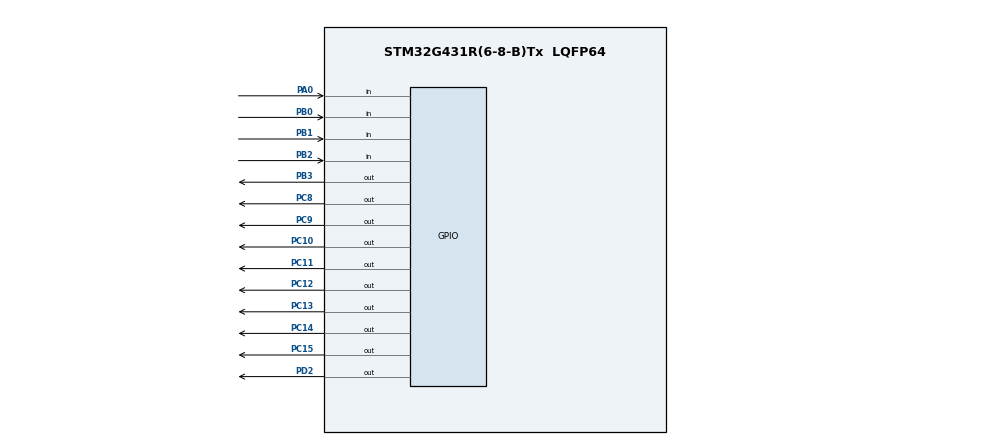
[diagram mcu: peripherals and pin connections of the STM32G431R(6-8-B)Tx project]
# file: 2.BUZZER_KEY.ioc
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Mcu.Family=STM32G4
Mcu.Name=STM32G431R(6-8-B)Tx
Mcu.Package=LQFP64
NVIC.PriorityGroup=NVIC_PRIORITYGROUP_4
PA0.GPIO_PuPd=GPIO_PULLUP
PA0.Signal=GPIO_Input
PA13.Mode=Serial_Wire
PA13.Signal=SYS_JTMS-SWDIO
PA14.Mode=Serial_Wire
PA14.Signal=SYS_JTCK-SWCLK
PB0.GPIO_PuPd=GPIO_PULLUP
PB0.Signal=GPIO_Input
PB1.GPIO_PuPd=GPIO_PULLUP
PB1.Signal=GPIO_Input
PB2.GPIO_PuPd=GPIO_PULLUP
PB2.Signal=GPIO_Input
PB3.PinState=GPIO_PIN_SET
PB3.Signal=GPIO_Output
PC10.PinState=GPIO_PIN_SET
PC10.Signal=GPIO_Output
PC11.PinState=GPIO_PIN_SET
PC11.Signal=GPIO_Output
PC12.Signal=GPIO_Output
PC13.Signal=GPIO_Output
PC14-OSC32_IN.Signal=GPIO_Output
PC15-OSC32_OUT.Signal=GPIO_Output
PC8.PinState=GPIO_PIN_SET
PC8.Signal=GPIO_Output
PC9.PinState=GPIO_PIN_SET
PC9.Signal=GPIO_Output
PD2.PinState=GPIO_PIN_SET
PD2.Signal=GPIO_Output
PF0-OSC_IN.Mode=HSE-External-Oscillator
PF0-OSC_IN.Signal=RCC_OSC_IN
PF1-OSC_OUT.Mode=HSE-External-Oscillator
PF1-OSC_OUT.Signal=RCC_OSC_OUT
ProjectManager.HeapSize=0x200
ProjectManager.StackSize=0x400
ProjectManager.TargetToolchain=MDK-ARM V5.27
RCC.ADC12Freq_Value=160000000
RCC.AHBFreq_Value=160000000
RCC.APB1Freq_Value=160000000
RCC.APB1TimFreq_Value=160000000
RCC.APB2Freq_Value=160000000
RCC.APB2TimFreq_Value=160000000
RCC.CortexFreq_Value=160000000
RCC.EXTERNAL_CLOCK_VALUE=12288000
RCC.HCLKFreq_Value=160000000
RCC.HSE_VALUE=24000000
RCC.HSI48_VALUE=48000000
RCC.HSI_VALUE=16000000
RCC.LSE_VALUE=32768
RCC.PLLM=RCC_PLLM_DIV3
RCC.PLLN=40
RCC.PLLSourceVirtual=RCC_PLLSOURCE_HSE
RCC.SYSCLKFreq_VALUE=160000000
RCC.SYSCLKSource=RCC_SYSCLKSOURCE_PLLCLK
RCC.USBFreq_Value=160000000
RCC.VCOOutputFreq_Value=320000000
VP_SYS_VS_DBSignals.Mode=DisableDeadBatterySignals
board=custom

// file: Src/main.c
/* USER CODE BEGIN Header */
/**
  ******************************************************************************
  * @file           : main.c
  * @brief          : Main program body
  ******************************************************************************
  * @attention
  *
  * <h2><center>&copy; Copyright (c) 2022 STMicroelectronics.
  * All rights reserved.</center></h2>
  *
  * This software component is licensed by ST under BSD 3-Clause license,
  * the "License"; You may not use this file except in compliance with the
  * License. You may obtain a copy of the License at:
  *                        opensource.org/licenses/BSD-3-Clause
  *
  ******************************************************************************
  */
/* USER CODE END Header */

#include "main.h"

/* USER CODE BEGIN PTD */

enum Key_All_State{
	Key_Check,
	Key_Press,
	Key_Release
};

enum Key_All_State Key_State = Key_Check;

/* USER CODE END PTD */

/* USER CODE BEGIN PD */
//KeyDef
#define B4 LL_GPIO_IsInputPinSet(GPIOA,LL_GPIO_PIN_0)
#define B3 LL_GPIO_IsInputPinSet(GPIOB,LL_GPIO_PIN_2)
#define B2 LL_GPIO_IsInputPinSet(GPIOB,LL_GPIO_PIN_1)
#define B1 LL_GPIO_IsInputPinSet(GPIOB,LL_GPIO_PIN_0)

//LedDef
#define L1_On LL_GPIO_ResetOutputPin(GPIOC,LL_GPIO_PIN_8)
#define L2_On LL_GPIO_ResetOutputPin(GPIOC,LL_GPIO_PIN_9)
#define L3_On LL_GPIO_ResetOutputPin(GPIOC,LL_GPIO_PIN_10)
#define L4_On LL_GPIO_ResetOutputPin(GPIOC,LL_GPIO_PIN_11)
#define L1_Off LL_GPIO_SetOutputPin(GPIOC,LL_GPIO_PIN_8)
#define L2_Off LL_GPIO_SetOutputPin(GPIOC,LL_GPIO_PIN_9)
#define L3_Off LL_GPIO_SetOutputPin(GPIOC,LL_GPIO_PIN_10)
#define L4_Off LL_GPIO_SetOutputPin(GPIOC,LL_GPIO_PIN_11)

//BuzzerDef
#define BuzzerOn LL_GPIO_ResetOutputPin(GPIOB,LL_GPIO_PIN_3)
#define BuzzerOff LL_GPIO_SetOutputPin(GPIOB,LL_GPIO_PIN_3)
/* USER CODE END PD */

/* USER CODE BEGIN PV */

uint32_t Key_Down_Time=20;
uint8_t Key_Value=0;
uint8_t Key_Flag=0;

/* USER CODE END PV */

void SystemClock_Config(void);
static void MX_GPIO_Init(void);
/* USER CODE BEGIN PFP */

void KeyScan(void);

/* USER CODE END PFP */

int main(void)
{

  /* MCU Configuration--------------------------------------------------------*/

  /* Reset of all peripherals, Initializes the Flash interface and the Systick. */

  LL_APB2_GRP1_EnableClock(LL_APB2_GRP1_PERIPH_SYSCFG);
  LL_APB1_GRP1_EnableClock(LL_APB1_GRP1_PERIPH_PWR);

  NVIC_SetPriorityGrouping(NVIC_PRIORITYGROUP_4);

  /* System interrupt init*/

  /** Disable the internal Pull-Up in Dead Battery pins of UCPD peripheral
  */
  LL_PWR_DisableDeadBatteryPD();

  /* Configure the system clock */
  SystemClock_Config();

  /* Initialize all configured peripherals */
  MX_GPIO_Init();
  /* USER CODE BEGIN 2 */
	LL_SYSTICK_EnableIT();

  /* USER CODE END 2 */

  /* Infinite loop */
  /* USER CODE BEGIN WHILE */
  while (1)
  {
	  if(Key_Flag)
	  {
		if(Key_Value == 1 && Key_Down_Time <= 1000) L1_On;
		if(Key_Value == 1 && Key_Down_Time > 1000) BuzzerOn;

		if(Key_Value == 2) BuzzerOff;
		if(Key_Value == 3) L1_Off;
		if(Key_Value == 4) L3_On;
		Key_Flag=0;
		Key_Down_Time=20;
	  }
    /* USER CODE END WHILE */

  }
}

void SystemClock_Config(void)
{
  LL_FLASH_SetLatency(LL_FLASH_LATENCY_7);

   if(LL_FLASH_GetLatency() != LL_FLASH_LATENCY_7)
  {
    Error_Handler();
  }
  LL_PWR_EnableRange1BoostMode();
  LL_RCC_HSE_Enable();

   /* Wait till HSE is ready */
  while(LL_RCC_HSE_IsReady() != 1)
  {

  }
  LL_RCC_PLL_ConfigDomain_SYS(LL_RCC_PLLSOURCE_HSE, LL_RCC_PLLM_DIV_3, 40, LL_RCC_PLLR_DIV_2);
  LL_RCC_PLL_EnableDomain_SYS();
  LL_RCC_PLL_Enable();

   /* Wait till PLL is ready */
  while(LL_RCC_PLL_IsReady() != 1)
  {

  }
  LL_RCC_SetSysClkSource(LL_RCC_SYS_CLKSOURCE_PLL);
  LL_RCC_SetAHBPrescaler(LL_RCC_SYSCLK_DIV_2);

   /* Wait till System clock is ready */
  while(LL_RCC_GetSysClkSource() != LL_RCC_SYS_CLKSOURCE_STATUS_PLL)
  {

  }
  /* Insure 1?s transition state at intermediate medium speed clock based on DWT */
  CoreDebug->DEMCR |= CoreDebug_DEMCR_TRCENA_Msk;
  DWT->CTRL |= DWT_CTRL_CYCCNTENA_Msk;
  DWT->CYCCNT = 0;
  while(DWT->CYCCNT < 100);
  /* Set AHB prescaler*/
  LL_RCC_SetAHBPrescaler(LL_RCC_SYSCLK_DIV_1);
  LL_RCC_SetAPB1Prescaler(LL_RCC_APB1_DIV_1);
  LL_RCC_SetAPB2Prescaler(LL_RCC_APB1_DIV_1);

  LL_Init1msTick(160000000);

  LL_SetSystemCoreClock(160000000);
}

static void MX_GPIO_Init(void)
{
  LL_GPIO_InitTypeDef GPIO_InitStruct = {0};

  /* GPIO Ports Clock Enable */
  LL_AHB2_GRP1_EnableClock(LL_AHB2_GRP1_PERIPH_GPIOC);
  LL_AHB2_GRP1_EnableClock(LL_AHB2_GRP1_PERIPH_GPIOF);
  LL_AHB2_GRP1_EnableClock(LL_AHB2_GRP1_PERIPH_GPIOA);
  LL_AHB2_GRP1_EnableClock(LL_AHB2_GRP1_PERIPH_GPIOB);
  LL_AHB2_GRP1_EnableClock(LL_AHB2_GRP1_PERIPH_GPIOD);

  /**/
  LL_GPIO_ResetOutputPin(GPIOC, LL_GPIO_PIN_13);

  /**/
  LL_GPIO_ResetOutputPin(GPIOC, LL_GPIO_PIN_14);

  /**/
  LL_GPIO_ResetOutputPin(GPIOC, LL_GPIO_PIN_15);

  /**/
  LL_GPIO_ResetOutputPin(GPIOC, LL_GPIO_PIN_12);

  /**/
  LL_GPIO_SetOutputPin(GPIOC, LL_GPIO_PIN_8);

  /**/
  LL_GPIO_SetOutputPin(GPIOC, LL_GPIO_PIN_9);

  /**/
  LL_GPIO_SetOutputPin(GPIOC, LL_GPIO_PIN_10);

  /**/
  LL_GPIO_SetOutputPin(GPIOC, LL_GPIO_PIN_11);

  /**/
  LL_GPIO_SetOutputPin(GPIOD, LL_GPIO_PIN_2);

  /**/
  LL_GPIO_SetOutputPin(GPIOB, LL_GPIO_PIN_3);

  /**/
  GPIO_InitStruct.Pin = LL_GPIO_PIN_13;
  GPIO_InitStruct.Mode = LL_GPIO_MODE_OUTPUT;
  GPIO_InitStruct.Speed = LL_GPIO_SPEED_FREQ_LOW;
  GPIO_InitStruct.OutputType = LL_GPIO_OUTPUT_PUSHPULL;
  GPIO_InitStruct.Pull = LL_GPIO_PULL_NO;
  LL_GPIO_Init(GPIOC, &GPIO_InitStruct);

  /**/
  GPIO_InitStruct.Pin = LL_GPIO_PIN_14;
  GPIO_InitStruct.Mode = LL_GPIO_MODE_OUTPUT;
  GPIO_InitStruct.Speed = LL_GPIO_SPEED_FREQ_LOW;
  GPIO_InitStruct.OutputType = LL_GPIO_OUTPUT_PUSHPULL;
  GPIO_InitStruct.Pull = LL_GPIO_PULL_NO;
  LL_GPIO_Init(GPIOC, &GPIO_InitStruct);

  /**/
  GPIO_InitStruct.Pin = LL_GPIO_PIN_15;
  GPIO_InitStruct.Mode = LL_GPIO_MODE_OUTPUT;
  GPIO_InitStruct.Speed = LL_GPIO_SPEED_FREQ_LOW;
  GPIO_InitStruct.OutputType = LL_GPIO_OUTPUT_PUSHPULL;
  GPIO_InitStruct.Pull = LL_GPIO_PULL_NO;
  LL_GPIO_Init(GPIOC, &GPIO_InitStruct);

  /**/
  GPIO_InitStruct.Pin = LL_GPIO_PIN_0;
  GPIO_InitStruct.Mode = LL_GPIO_MODE_INPUT;
  GPIO_InitStruct.Pull = LL_GPIO_PULL_UP;
  LL_GPIO_Init(GPIOA, &GPIO_InitStruct);

  /**/
  GPIO_InitStruct.Pin = LL_GPIO_PIN_0;
  GPIO_InitStruct.Mode = LL_GPIO_MODE_INPUT;
  GPIO_InitStruct.Pull = LL_GPIO_PULL_UP;
  LL_GPIO_Init(GPIOB, &GPIO_InitStruct);

  /**/
  GPIO_InitStruct.Pin = LL_GPIO_PIN_1;
  GPIO_InitStruct.Mode = LL_GPIO_MODE_INPUT;
  GPIO_InitStruct.Pull = LL_GPIO_PULL_UP;
  LL_GPIO_Init(GPIOB, &GPIO_InitStruct);

  /**/
  GPIO_InitStruct.Pin = LL_GPIO_PIN_2;
  GPIO_InitStruct.Mode = LL_GPIO_MODE_INPUT;
  GPIO_InitStruct.Pull = LL_GPIO_PULL_UP;
  LL_GPIO_Init(GPIOB, &GPIO_InitStruct);

  /**/
  GPIO_InitStruct.Pin = LL_GPIO_PIN_8;
  GPIO_InitStruct.Mode = LL_GPIO_MODE_OUTPUT;
  GPIO_InitStruct.Speed = LL_GPIO_SPEED_FREQ_LOW;
  GPIO_InitStruct.OutputType = LL_GPIO_OUTPUT_PUSHPULL;
  GPIO_InitStruct.Pull = LL_GPIO_PULL_NO;
  LL_GPIO_Init(GPIOC, &GPIO_InitStruct);

  /**/
  GPIO_InitStruct.Pin = LL_GPIO_PIN_9;
  GPIO_InitStruct.Mode = LL_GPIO_MODE_OUTPUT;
  GPIO_InitStruct.Speed = LL_GPIO_SPEED_FREQ_LOW;
  GPIO_InitStruct.OutputType = LL_GPIO_OUTPUT_PUSHPULL;
  GPIO_InitStruct.Pull = LL_GPIO_PULL_NO;
  LL_GPIO_Init(GPIOC, &GPIO_InitStruct);

  /**/
  GPIO_InitStruct.Pin = LL_GPIO_PIN_10;
  GPIO_InitStruct.Mode = LL_GPIO_MODE_OUTPUT;
  GPIO_InitStruct.Speed = LL_GPIO_SPEED_FREQ_LOW;
  GPIO_InitStruct.OutputType = LL_GPIO_OUTPUT_PUSHPULL;
  GPIO_InitStruct.Pull = LL_GPIO_PULL_NO;
  LL_GPIO_Init(GPIOC, &GPIO_InitStruct);

  /**/
  GPIO_InitStruct.Pin = LL_GPIO_PIN_11;
  GPIO_InitStruct.Mode = LL_GPIO_MODE_OUTPUT;
  GPIO_InitStruct.Speed = LL_GPIO_SPEED_FREQ_LOW;
  GPIO_InitStruct.OutputType = LL_GPIO_OUTPUT_PUSHPULL;
  GPIO_InitStruct.Pull = LL_GPIO_PULL_NO;
  LL_GPIO_Init(GPIOC, &GPIO_InitStruct);

  /**/
  GPIO_InitStruct.Pin = LL_GPIO_PIN_12;
  GPIO_InitStruct.Mode = LL_GPIO_MODE_OUTPUT;
  GPIO_InitStruct.Speed = LL_GPIO_SPEED_FREQ_LOW;
  GPIO_InitStruct.OutputType = LL_GPIO_OUTPUT_PUSHPULL;
  GPIO_InitStruct.Pull = LL_GPIO_PULL_NO;
  LL_GPIO_Init(GPIOC, &GPIO_InitStruct);

  /**/
  GPIO_InitStruct.Pin = LL_GPIO_PIN_2;
  GPIO_InitStruct.Mode = LL_GPIO_MODE_OUTPUT;
  GPIO_InitStruct.Speed = LL_GPIO_SPEED_FREQ_LOW;
  GPIO_InitStruct.OutputType = LL_GPIO_OUTPUT_PUSHPULL;
  GPIO_InitStruct.Pull = LL_GPIO_PULL_NO;
  LL_GPIO_Init(GPIOD, &GPIO_InitStruct);

  /**/
  GPIO_InitStruct.Pin = LL_GPIO_PIN_3;
  GPIO_InitStruct.Mode = LL_GPIO_MODE_OUTPUT;
  GPIO_InitStruct.Speed = LL_GPIO_SPEED_FREQ_LOW;
  GPIO_InitStruct.OutputType = LL_GPIO_OUTPUT_PUSHPULL;
  GPIO_InitStruct.Pull = LL_GPIO_PULL_NO;
  LL_GPIO_Init(GPIOB, &GPIO_InitStruct);

}

/* USER CODE BEGIN 4 */
void KeyScan(void)
{
	switch(Key_State)
	{
		case Key_Check:
			if(B1 == 0 | B2 == 0 | B3 == 0 | B4 == 0)
				Key_State = Key_Press;
			break;
		case Key_Press:
			Key_State = Key_Release;
			if(B1 == 0) Key_Value=1;
			else if(B2 == 0) Key_Value=2;
			else if(B3 == 0) Key_Value=3;
			else if(B4 == 0) Key_Value=4;
			else Key_State = Key_Check;
			break;
		case Key_Release:
			if(B1 == 0 | B2 == 0 | B3 == 0 | B4 == 0)
				Key_Down_Time += 10;
			else
			{
				Key_Flag=1;
				Key_State = Key_Check;
			}
			break;
	}
}
/* USER CODE END 4 */

void Error_Handler(void)
{
}

/************************ (C) COPYRIGHT STMicroelectronics *****END OF FILE****/
